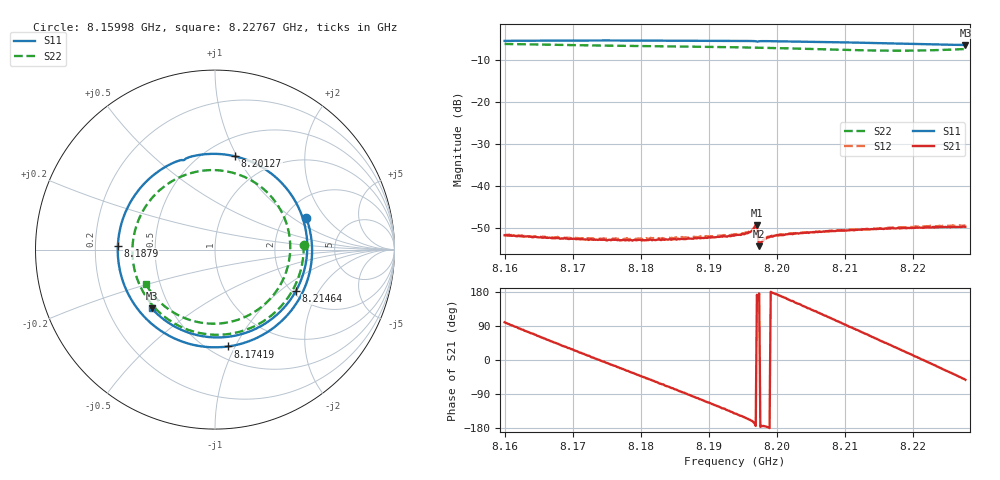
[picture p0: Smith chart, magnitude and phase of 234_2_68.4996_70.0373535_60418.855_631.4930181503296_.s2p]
#  HZ  S  RI  R  50.00
! Rohde & Schwarz Vector Network Analyzer
! Rohde-Schwarz,ZNB20-2Port,1311601062101988,3.16
! Created: UTC 3/20/2024, 4:59:04 PM
! freq[Hz]  re:S11  im:S11  re:S21  im:S21  re:S12  im:S12  re:S22  im:S22
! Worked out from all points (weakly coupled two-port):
!   401 points, 8.15998 GHz to 8.22767 GHz, reference 50 ohm
!   highest |S21| = -49.45 dB at 8.19704 GHz (marker M1); lowest = -54.4 dB at 8.19738 GHz (marker M2)
!   lowest |S11| = -6.4 dB at 8.22767 GHz (marker M3), VSWR 2.85, Z = 19.9 - j17 ohm
!   |S11| at or under -10 dB: nowhere
!   |S22| runs from -7.7 to -6.1 dB; largest |S21 - S12| = 0.00021
!   S11 on the Smith chart (normalised r, x): 8.15998 GHz: 2.60, +1.30; 8.17419 GHz: 0.61, -0.94; 8.1879 GHz: 0.30, +0.02; 8.20127 GHz: 0.68, +0.98; 8.21464 GHz: 2.09, -1.30; 8.22767 GHz: 0.40, -0.34
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8.159979e9  0.5084 0.1774  -0.000423 0.00253  -0.000409 0.00255  0.4941 0.0273
8.165394e9  0.512 -0.1797  0.00124 0.00209  0.00123 0.0021  0.3998 -0.2769
8.171317e9  0.2593 -0.4786  0.0022 0.000706  0.00223 0.000743  0.117 -0.4627
8.174193e9  0.074 -0.5394  0.00227 -9.14e-05  0.00232 -8.61e-05  -0.047 -0.4713
8.178255e9  -0.1996 -0.5062  0.00192 -0.00112  0.00198 -0.00117  -0.2602 -0.3897
8.182655e9  -0.4373 -0.3225  0.0011 -0.00202  0.00113 -0.00208  -0.4171 -0.203
8.1879e9  -0.5415 0.0207  -0.000326 -0.00235  -0.000391 -0.00242  -0.4511 0.082
8.190777e9  -0.4956 0.2157  -0.00117 -0.00212  -0.00125 -0.00217  -0.3929 0.2299
8.193823e9  -0.3726 0.3892  -0.00199 -0.00161  -0.0021 -0.00159  -0.279 0.3548
8.1967e9  -0.199 0.4963  -0.00309 -0.000706  -0.00317 -0.000562  -0.1353 0.426
8.197039e9  -0.1752 0.4981  -0.00334 0.00047  -0.00341 0.00063  -0.1169 0.4307
8.197377e9  -0.1618 0.5073  -0.0019 0.00015  -0.00192 0.000258  -0.0984 0.4348
8.197715e9  -0.1378 0.5168  -0.00212 -0.000229  -0.00216 -0.000131  -0.0796 0.4382
8.198731e9  -0.0658 0.5303  -0.00241 -0.000107  -0.00246 8.62e-06  -0.0222 0.443
8.201269e9  0.1129 0.5194  -0.00253 0.000742  -0.0025 0.000869  0.1202 0.422
8.205161e9  0.3526 0.3902  -0.00186 0.00207  -0.0018 0.00214  0.3074 0.3015
8.210069e9  0.5095 0.0853  -0.000156 0.00292  -8.98e-05 0.00296  0.4186 0.0375
8.214638e9  0.4502 -0.2317  0.00172 0.00251  0.00179 0.0025  0.3431 -0.2296
8.216499e9  0.37 -0.3391  0.00236 0.00202  0.00243 0.00202  0.263 -0.3162
8.219376e9  0.1981 -0.4539  0.00299 0.000935  0.00311 0.000855  0.0972 -0.3998
8.222084e9  0.00642 -0.4894  0.00318 -0.000297  0.00325 -0.000419  -0.0815 -0.4065
8.227668e9  -0.3519 -0.3281  0.00199 -0.00256  0.00192 -0.00272  -0.3847 -0.1932
